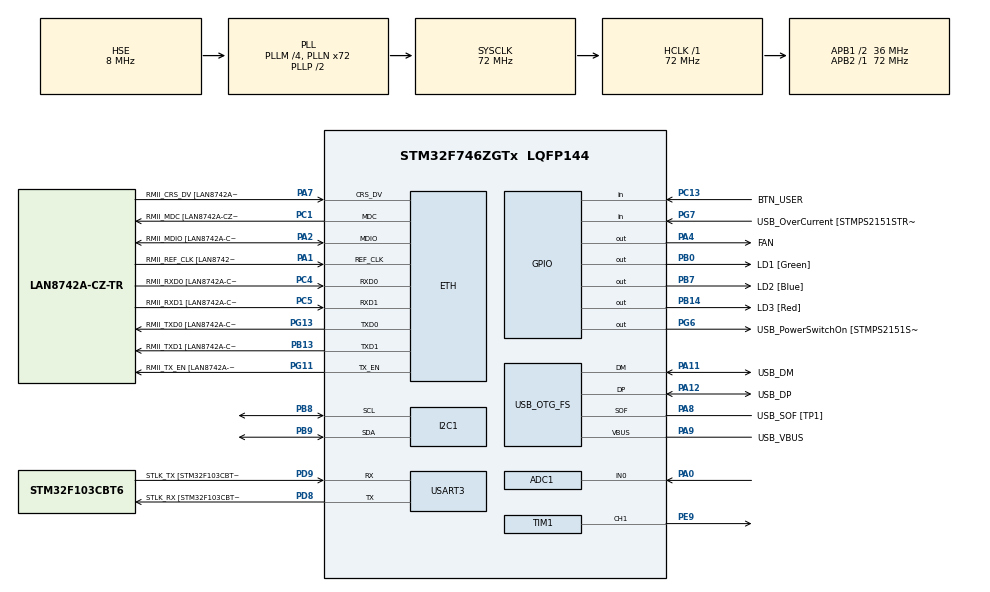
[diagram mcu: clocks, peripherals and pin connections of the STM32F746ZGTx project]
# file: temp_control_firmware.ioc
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ADC1.Channel-1\#ChannelRegularConversion=ADC_CHANNEL_0
ADC1.NbrOfConversion=1
ADC1.NbrOfConversionFlag=1
ADC1.Rank-1\#ChannelRegularConversion=1
ADC1.SamplingTime-1\#ChannelRegularConversion=ADC_SAMPLETIME_144CYCLES
ADC1.ScanConvMode=ADC_SCAN_DISABLE
ADC1.master=1
ETH.MediaInterface=HAL_ETH_RMII_MODE
ETH.PHY_Name=LAN8742A_PHY_ADDRESS
ETH.PHY_Value=0
ETH.PhyAddress=0
I2C1.Timing=0x00808CD2
Mcu.Family=STM32F7
Mcu.Name=STM32F746ZGTx
Mcu.Package=LQFP144
NVIC.PriorityGroup=NVIC_PRIORITYGROUP_4
PA0/WKUP.Signal=ADCx_IN0
PA1.GPIO_Label=RMII_REF_CLK [LAN8742A-CZ-TR_REFCLK0]
PA1.Mode=RMII
PA1.Signal=ETH_REF_CLK
PA10.GPIO_Label=USB_ID
PA10.Signal=USB_OTG_FS_ID
PA11.GPIO_Label=USB_DM
PA11.Mode=Device_Only
PA11.Signal=USB_OTG_FS_DM
PA12.GPIO_Label=USB_DP
PA12.Mode=Device_Only
PA12.Signal=USB_OTG_FS_DP
PA13.GPIO_Label=TMS
PA13.Mode=Serial_Wire
PA13.Signal=SYS_JTMS-SWDIO
PA14.GPIO_Label=TCK
PA14.Mode=Serial_Wire
PA14.Signal=SYS_JTCK-SWCLK
PA2.GPIO_Label=RMII_MDIO [LAN8742A-CZ-TR_MDIO]
PA2.Mode=RMII
PA2.Signal=ETH_MDIO
PA4.GPIO_Label=FAN
PA4.GPIO_PuPd=GPIO_NOPULL
PA4.GPIO_Speed=GPIO_SPEED_FREQ_MEDIUM
PA4.Signal=GPIO_Output
PA7.GPIO_Label=RMII_CRS_DV [LAN8742A-CZ-TR_CRS_DV]
PA7.Mode=RMII
PA7.Signal=ETH_CRS_DV
PA8.GPIO_Label=USB_SOF [TP1]
PA8.Mode=Activate_SOF_FS
PA8.Signal=USB_OTG_FS_SOF
PA9.GPIO_Label=USB_VBUS
PA9.Mode=Activate_VBUS
PA9.Signal=USB_OTG_FS_VBUS
PB0.GPIO_Label=LD1 [Green]
PB0.Signal=GPIO_Output
PB13.GPIO_Label=RMII_TXD1 [LAN8742A-CZ-TR_TXD1]
PB13.Mode=RMII
PB13.Signal=ETH_TXD1
PB14.GPIO_Label=LD3 [Red]
PB14.Signal=GPIO_Output
PB3.GPIO_Label=SW0
PB3.Signal=SYS_JTDO-SWO
PB7.GPIO_Label=LD2 [Blue]
PB7.Signal=GPIO_Output
PB8.Mode=I2C
PB8.Signal=I2C1_SCL
PB9.Mode=I2C
PB9.Signal=I2C1_SDA
PC1.GPIO_Label=RMII_MDC [LAN8742A-CZ-TR_MDC]
PC1.Mode=RMII
PC1.Signal=ETH_MDC
PC13.GPIO_Label=BTN_USER
PC13.GPIO_PuPd=GPIO_PULLUP
PC13.Signal=GPIO_Input
PC14/OSC32_IN.Mode=LSE-External-Oscillator
PC14/OSC32_IN.Signal=RCC_OSC32_IN
PC15/OSC32_OUT.Mode=LSE-External-Oscillator
PC15/OSC32_OUT.Signal=RCC_OSC32_OUT
PC4.GPIO_Label=RMII_RXD0 [LAN8742A-CZ-TR_RXD0]
PC4.Mode=RMII
PC4.Signal=ETH_RXD0
PC5.GPIO_Label=RMII_RXD1 [LAN8742A-CZ-TR_RXD1]
PC5.Mode=RMII
PC5.Signal=ETH_RXD1
PD8.GPIO_Label=STLK_RX [STM32F103CBT6_PA3]
PD8.GPIO_PuPd=GPIO_PULLUP
PD8.Mode=Asynchronous
PD8.Signal=USART3_TX
PD9.GPIO_Label=STLK_TX [STM32F103CBT6_PA2]
PD9.GPIO_PuPd=GPIO_PULLUP
PD9.Mode=Asynchronous
PD9.Signal=USART3_RX
PE9.Signal=S_TIM1_CH1
PG11.GPIO_Label=RMII_TX_EN [LAN8742A-CZ-TR_TXEN]
PG11.Mode=RMII
PG11.Signal=ETH_TX_EN
PG13.GPIO_Label=RMII_TXD0 [LAN8742A-CZ-TR_TXD0]
PG13.Mode=RMII
PG13.Signal=ETH_TXD0
PG6.GPIO_Label=USB_PowerSwitchOn [STMPS2151STR_EN]
PG6.Signal=GPIO_Output
PG7.GPIO_Label=USB_OverCurrent [STMPS2151STR_FAULT]
PG7.Signal=GPIO_Input
PH0/OSC_IN.GPIO_Label=MCO [STM32F103CBT6_PA8]
PH0/OSC_IN.Mode=HSE-External-Clock-Source
PH0/OSC_IN.Signal=RCC_OSC_IN
PH1/OSC_OUT.Mode=HSE-External-Clock-Source
PH1/OSC_OUT.Signal=RCC_OSC_OUT
ProjectManager.HeapSize=0x200
ProjectManager.StackSize=0x400
ProjectManager.TargetToolchain=STM32CubeIDE
RCC.48MHZClocksFreq_Value=24000000
RCC.AHBFreq_Value=72000000
RCC.APB1CLKDivider=RCC_HCLK_DIV2
RCC.APB1Freq_Value=36000000
RCC.APB1TimFreq_Value=72000000
RCC.APB2Freq_Value=72000000
RCC.APB2TimFreq_Value=72000000
RCC.CortexFreq_Value=72000000
RCC.HCLKFreq_Value=72000000
RCC.HSE_VALUE=8000000
RCC.HSI_VALUE=16000000
RCC.PLLM=4
RCC.PLLMUL=RCC_PLL_MUL9
RCC.PLLN=72
RCC.PLLQ=3
RCC.PRESCALERUSB=RCC_USBCLKSOURCE_PLL_DIV1_5
RCC.SYSCLKFreq_VALUE=72000000
RCC.SYSCLKSource=RCC_SYSCLKSOURCE_PLLCLK
RCC.SYSCLKSourceVirtual=RCC_SYSCLKSOURCE_PLLCLK
RCC.USBFreq_Value=48000000
RCC.VCOOutputFreq_Value=144000000
SH.ADCx_IN0.0=ADC1_IN0,IN0
SH.S_TIM1_CH1.0=TIM1_CH1,PWM Generation1 CH1
TIM1.AutoReloadPreload=TIM_AUTORELOAD_PRELOAD_ENABLE
TIM1.Channel-PWM\ Generation1\ CH1=TIM_CHANNEL_1
TIM1.Period=3599
TIM7.Period=20000 - 1
TIM7.Prescaler=720 - 1
USART3.VirtualMode-Asynchronous=VM_ASYNC
USB_OTG_FS.VirtualMode=Device_Only
VP_CRC_VS_CRC.Mode=CRC_Activate
VP_TIM1_VS_ClockSourceINT.Mode=Internal
VP_TIM7_VS_ClockSourceINT.Mode=Enable_Timer
board=NUCLEO-F746ZG

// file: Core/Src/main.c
/* USER CODE BEGIN Header */
/**
  ******************************************************************************
  * @file           : main.c
  * @brief          : Main application entry point and system integration.
  *
  * This file initializes the hardware and integrates all application modules,
  * including temperature measurement, control algorithm, heater control and
  * serial communication.
  ******************************************************************************
  * @attention
  *
  * Copyright (c) 2025 STMicroelectronics.
  * All rights reserved.
  *
  * This software is licensed under terms that can be found in the LICENSE file
  * in the root directory of this software component.
  * If no LICENSE file comes with this software, it is provided AS-IS.
  *
  ******************************************************************************
  */
/* USER CODE END Header */
#include "main.h"
#include "string.h"

/* USER CODE BEGIN Includes */
#include "temperature.h"
#include "control.h"
#include "heater.h"
#include "uart_if.h"
#include "config.h"
#include "ui_led.h"
#include "setpoint.h"
#include "fan.h"
#include "button.h"
/* USER CODE END Includes */

#if defined ( __ICCARM__ ) /*!< IAR Compiler */
#pragma location=0x2004c000
ETH_DMADescTypeDef  DMARxDscrTab[ETH_RX_DESC_CNT]; /* Ethernet Rx DMA Descriptors */
#pragma location=0x2004c0a0
ETH_DMADescTypeDef  DMATxDscrTab[ETH_TX_DESC_CNT]; /* Ethernet Tx DMA Descriptors */

#elif defined ( __CC_ARM )  /* MDK ARM Compiler */

__attribute__((at(0x2004c000))) ETH_DMADescTypeDef  DMARxDscrTab[ETH_RX_DESC_CNT]; /* Ethernet Rx DMA Descriptors */
__attribute__((at(0x2004c0a0))) ETH_DMADescTypeDef  DMATxDscrTab[ETH_TX_DESC_CNT]; /* Ethernet Tx DMA Descriptors */

#elif defined ( __GNUC__ ) /* GNU Compiler */

ETH_DMADescTypeDef DMARxDscrTab[ETH_RX_DESC_CNT] __attribute__((section(".RxDecripSection"))); /* Ethernet Rx DMA Descriptors */
ETH_DMADescTypeDef DMATxDscrTab[ETH_TX_DESC_CNT] __attribute__((section(".TxDecripSection")));   /* Ethernet Tx DMA Descriptors */
#endif

ETH_TxPacketConfig TxConfig;

ADC_HandleTypeDef hadc1;

CRC_HandleTypeDef hcrc;

ETH_HandleTypeDef heth;

I2C_HandleTypeDef hi2c1;

TIM_HandleTypeDef htim1;
TIM_HandleTypeDef htim7;

UART_HandleTypeDef huart3;

PCD_HandleTypeDef hpcd_USB_OTG_FS;

void SystemClock_Config(void);
static void MX_GPIO_Init(void);
static void MX_ETH_Init(void);
static void MX_I2C1_Init(void);
static void MX_USART3_UART_Init(void);
static void MX_USB_OTG_FS_PCD_Init(void);
static void MX_ADC1_Init(void);
static void MX_TIM1_Init(void);
static void MX_CRC_Init(void);
static void MX_TIM7_Init(void);

int main(void)
{

  /* MCU Configuration--------------------------------------------------------*/

  /* Reset of all peripherals, Initializes the Flash interface and the Systick. */
  HAL_Init();

  /* Configure the system clock */
  SystemClock_Config();

  /* Initialize all configured peripherals */
  MX_GPIO_Init();
  MX_ETH_Init();
  MX_I2C1_Init();
  MX_USART3_UART_Init();
  MX_USB_OTG_FS_PCD_Init();
  MX_ADC1_Init();
  MX_TIM1_Init();
  MX_CRC_Init();
  MX_TIM7_Init();
  /* USER CODE BEGIN 2 */
  Control_Init();
  UARTIF_Init();
  UI_LED_Init();
  Heater_Init();
  Button_Init();

  /* USER CODE END 2 */

  /* Infinite loop */
  /* USER CODE BEGIN WHILE */
  uint32_t next_tick = HAL_GetTick();
  const uint32_t Ts_ms = (uint32_t)(CONTROL_TS_S * 1000.0f + 0.5f);
  uint32_t next_tel_ms = HAL_GetTick() + TELEMETRY_PERIOD_MS;

  while (1)
  {
      // ---------- UART ----------
      UARTIF_Task();

      // ---------- ADC (NTC) ----------
      uint16_t ntc_raw = 0;
      HAL_ADC_Start(&hadc1);
      if (HAL_ADC_PollForConversion(&hadc1, 10) == HAL_OK) {
          ntc_raw = (uint16_t)HAL_ADC_GetValue(&hadc1);
      }
      HAL_ADC_Stop(&hadc1);

      // ---------- Temperature ----------
      // float t_meas = Temperature_FromRaw(ntc_raw);
      float t_meas = Temperature_FromRawFiltered(ntc_raw);
      float t_ref  = Setpoint_GetC();

      // ---------- Range flags ----------
      bool in_range = (t_meas >= T_SAFE_MIN_C  && t_meas <= T_SAFE_MAX_C);
      bool alarm    = (t_meas <  T_ALARM_MIN_C || t_meas >  T_ALARM_MAX_C);

      // ---------- Button (setpoint adjust) ----------
      Button_Task_100ms();

      button_event_t ev = Button_ConsumeEvent();
      if (ev != BTN_EVT_NONE) {
          float sp = Setpoint_GetC();

          if (ev == BTN_EVT_SHORT) sp += 0.5f;
          else if (ev == BTN_EVT_LONG) sp -= 0.5f;

          Setpoint_SetC(sp);

          t_ref = Setpoint_GetC();
      }
      HAL_Delay(200);

      // ---------- Control + Safety ----------
      static bool prev_alarm = false;
      float pwm = 0.0f;

      if (alarm) {
          if (!prev_alarm) {
              Control_Init();
          }

          pwm = 0.0f;
          Heater_SetDutyPercent(0.0f);
          Fan_Set(true);
      } else {
          pwm = Control_Update(t_ref, t_meas);
          Heater_SetDutyPercent(pwm);

          // ---------- Fan control (hysteresis) ----------
          static bool fan_on = false;
          if (!fan_on && (t_meas > t_ref + 2.0f)) fan_on = true;
          if ( fan_on && (t_meas < t_ref + 1.0f)) fan_on = false;
          Fan_Set(fan_on);
      }

      prev_alarm = alarm;

      // ---------- Telemetry (periodic) ----------
      bool send_tel = UARTIF_ConsumeTelemetryRequest();

      uint32_t now_tel = HAL_GetTick();
      if ((int32_t)(now_tel - next_tel_ms) >= 0) {
          send_tel = true;
          next_tel_ms += TELEMETRY_PERIOD_MS;
      }

      if (send_tel) {
          UARTIF_SendTelemetry(t_meas, t_ref, pwm);
      }

      // ---------- LED indication ----------
      UI_LED_Task_100ms(in_range, alarm);

      // ---------- Sampling period (fixed Ts) ----------
      next_tick += Ts_ms;
      uint32_t now = HAL_GetTick();

      if ((int32_t)(next_tick - now) > 0) {
          HAL_Delay(next_tick - now);
      } else {
          next_tick = now;
      }
  }

    /* USER CODE END WHILE */

  }
}

void SystemClock_Config(void)
{
  RCC_OscInitTypeDef RCC_OscInitStruct = {0};
  RCC_ClkInitTypeDef RCC_ClkInitStruct = {0};

  /** Configure LSE Drive Capability
  */
  HAL_PWR_EnableBkUpAccess();

  /** Configure the main internal regulator output voltage
  */
  __HAL_RCC_PWR_CLK_ENABLE();
  __HAL_PWR_VOLTAGESCALING_CONFIG(PWR_REGULATOR_VOLTAGE_SCALE3);

  /** Initializes the RCC Oscillators according to the specified parameters
  * in the RCC_OscInitTypeDef structure.
  */
  RCC_OscInitStruct.OscillatorType = RCC_OSCILLATORTYPE_HSE;
  RCC_OscInitStruct.HSEState = RCC_HSE_BYPASS;
  RCC_OscInitStruct.PLL.PLLState = RCC_PLL_ON;
  RCC_OscInitStruct.PLL.PLLSource = RCC_PLLSOURCE_HSE;
  RCC_OscInitStruct.PLL.PLLM = 4;
  RCC_OscInitStruct.PLL.PLLN = 72;
  RCC_OscInitStruct.PLL.PLLP = RCC_PLLP_DIV2;
  RCC_OscInitStruct.PLL.PLLQ = 3;
  if (HAL_RCC_OscConfig(&RCC_OscInitStruct) != HAL_OK)
  {
    Error_Handler();
  }

  /** Initializes the CPU, AHB and APB buses clocks
  */
  RCC_ClkInitStruct.ClockType = RCC_CLOCKTYPE_HCLK|RCC_CLOCKTYPE_SYSCLK
                              |RCC_CLOCKTYPE_PCLK1|RCC_CLOCKTYPE_PCLK2;
  RCC_ClkInitStruct.SYSCLKSource = RCC_SYSCLKSOURCE_PLLCLK;
  RCC_ClkInitStruct.AHBCLKDivider = RCC_SYSCLK_DIV1;
  RCC_ClkInitStruct.APB1CLKDivider = RCC_HCLK_DIV2;
  RCC_ClkInitStruct.APB2CLKDivider = RCC_HCLK_DIV1;

  if (HAL_RCC_ClockConfig(&RCC_ClkInitStruct, FLASH_LATENCY_2) != HAL_OK)
  {
    Error_Handler();
  }
}

static void MX_ADC1_Init(void)
{

  ADC_ChannelConfTypeDef sConfig = {0};

  /** Configure the global features of the ADC (Clock, Resolution, Data Alignment and number of conversion)
  */
  hadc1.Instance = ADC1;
  hadc1.Init.ClockPrescaler = ADC_CLOCK_SYNC_PCLK_DIV2;
  hadc1.Init.Resolution = ADC_RESOLUTION_12B;
  hadc1.Init.ScanConvMode = ADC_SCAN_DISABLE;
  hadc1.Init.ContinuousConvMode = DISABLE;
  hadc1.Init.DiscontinuousConvMode = DISABLE;
  hadc1.Init.ExternalTrigConvEdge = ADC_EXTERNALTRIGCONVEDGE_NONE;
  hadc1.Init.ExternalTrigConv = ADC_SOFTWARE_START;
  hadc1.Init.DataAlign = ADC_DATAALIGN_RIGHT;
  hadc1.Init.NbrOfConversion = 1;
  hadc1.Init.DMAContinuousRequests = DISABLE;
  hadc1.Init.EOCSelection = ADC_EOC_SINGLE_CONV;
  if (HAL_ADC_Init(&hadc1) != HAL_OK)
  {
    Error_Handler();
  }

  /** Configure for the selected ADC regular channel its corresponding rank in the sequencer and its sample time.
  */
  sConfig.Channel = ADC_CHANNEL_0;
  sConfig.Rank = ADC_REGULAR_RANK_1;
  sConfig.SamplingTime = ADC_SAMPLETIME_144CYCLES;
  if (HAL_ADC_ConfigChannel(&hadc1, &sConfig) != HAL_OK)
  {
    Error_Handler();
  }

}

static void MX_CRC_Init(void)
{

  hcrc.Instance = CRC;
  hcrc.Init.DefaultPolynomialUse = DEFAULT_POLYNOMIAL_ENABLE;
  hcrc.Init.DefaultInitValueUse = DEFAULT_INIT_VALUE_ENABLE;
  hcrc.Init.InputDataInversionMode = CRC_INPUTDATA_INVERSION_NONE;
  hcrc.Init.OutputDataInversionMode = CRC_OUTPUTDATA_INVERSION_DISABLE;
  hcrc.InputDataFormat = CRC_INPUTDATA_FORMAT_BYTES;
  if (HAL_CRC_Init(&hcrc) != HAL_OK)
  {
    Error_Handler();
  }

}

static void MX_ETH_Init(void)
{

   static uint8_t MACAddr[6];

  heth.Instance = ETH;
  MACAddr[0] = 0x00;
  MACAddr[1] = 0x80;
  MACAddr[2] = 0xE1;
  MACAddr[3] = 0x00;
  MACAddr[4] = 0x00;
  MACAddr[5] = 0x00;
  heth.Init.MACAddr = &MACAddr[0];
  heth.Init.MediaInterface = HAL_ETH_RMII_MODE;
  heth.Init.TxDesc = DMATxDscrTab;
  heth.Init.RxDesc = DMARxDscrTab;
  heth.Init.RxBuffLen = 1524;

  if (HAL_ETH_Init(&heth) != HAL_OK)
  {
    Error_Handler();
  }

  memset(&TxConfig, 0 , sizeof(ETH_TxPacketConfig));
  TxConfig.Attributes = ETH_TX_PACKETS_FEATURES_CSUM | ETH_TX_PACKETS_FEATURES_CRCPAD;
  TxConfig.ChecksumCtrl = ETH_CHECKSUM_IPHDR_PAYLOAD_INSERT_PHDR_CALC;
  TxConfig.CRCPadCtrl = ETH_CRC_PAD_INSERT;

}

static void MX_I2C1_Init(void)
{

  hi2c1.Instance = I2C1;
  hi2c1.Init.Timing = 0x00808CD2;
  hi2c1.Init.OwnAddress1 = 0;
  hi2c1.Init.AddressingMode = I2C_ADDRESSINGMODE_7BIT;
  hi2c1.Init.DualAddressMode = I2C_DUALADDRESS_DISABLE;
  hi2c1.Init.OwnAddress2 = 0;
  hi2c1.Init.OwnAddress2Masks = I2C_OA2_NOMASK;
  hi2c1.Init.GeneralCallMode = I2C_GENERALCALL_DISABLE;
  hi2c1.Init.NoStretchMode = I2C_NOSTRETCH_DISABLE;
  if (HAL_I2C_Init(&hi2c1) != HAL_OK)
  {
    Error_Handler();
  }

  /** Configure Analogue filter
  */
  if (HAL_I2CEx_ConfigAnalogFilter(&hi2c1, I2C_ANALOGFILTER_ENABLE) != HAL_OK)
  {
    Error_Handler();
  }

  /** Configure Digital filter
  */
  if (HAL_I2CEx_ConfigDigitalFilter(&hi2c1, 0) != HAL_OK)
  {
    Error_Handler();
  }

}

static void MX_TIM1_Init(void)
{

  TIM_ClockConfigTypeDef sClockSourceConfig = {0};
  TIM_MasterConfigTypeDef sMasterConfig = {0};
  TIM_OC_InitTypeDef sConfigOC = {0};
  TIM_BreakDeadTimeConfigTypeDef sBreakDeadTimeConfig = {0};

  htim1.Instance = TIM1;
  htim1.Init.Prescaler = 0;
  htim1.Init.CounterMode = TIM_COUNTERMODE_UP;
  htim1.Init.Period = 3599;
  htim1.Init.ClockDivision = TIM_CLOCKDIVISION_DIV1;
  htim1.Init.RepetitionCounter = 0;
  htim1.Init.AutoReloadPreload = TIM_AUTORELOAD_PRELOAD_ENABLE;
  if (HAL_TIM_Base_Init(&htim1) != HAL_OK)
  {
    Error_Handler();
  }
  sClockSourceConfig.ClockSource = TIM_CLOCKSOURCE_INTERNAL;
  if (HAL_TIM_ConfigClockSource(&htim1, &sClockSourceConfig) != HAL_OK)
  {
    Error_Handler();
  }
  if (HAL_TIM_PWM_Init(&htim1) != HAL_OK)
  {
    Error_Handler();
  }
  sMasterConfig.MasterOutputTrigger = TIM_TRGO_RESET;
  sMasterConfig.MasterOutputTrigger2 = TIM_TRGO2_RESET;
  sMasterConfig.MasterSlaveMode = TIM_MASTERSLAVEMODE_DISABLE;
  if (HAL_TIMEx_MasterConfigSynchronization(&htim1, &sMasterConfig) != HAL_OK)
  {
    Error_Handler();
  }
  sConfigOC.OCMode = TIM_OCMODE_PWM1;
  sConfigOC.Pulse = 0;
  sConfigOC.OCPolarity = TIM_OCPOLARITY_HIGH;
  sConfigOC.OCNPolarity = TIM_OCNPOLARITY_HIGH;
  sConfigOC.OCFastMode = TIM_OCFAST_DISABLE;
  sConfigOC.OCIdleState = TIM_OCIDLESTATE_RESET;
  sConfigOC.OCNIdleState = TIM_OCNIDLESTATE_RESET;
  if (HAL_TIM_PWM_ConfigChannel(&htim1, &sConfigOC, TIM_CHANNEL_1) != HAL_OK)
  {
    Error_Handler();
  }
  sBreakDeadTimeConfig.OffStateRunMode = TIM_OSSR_DISABLE;
  sBreakDeadTimeConfig.OffStateIDLEMode = TIM_OSSI_DISABLE;
  sBreakDeadTimeConfig.LockLevel = TIM_LOCKLEVEL_OFF;
  sBreakDeadTimeConfig.DeadTime = 0;
  sBreakDeadTimeConfig.BreakState = TIM_BREAK_DISABLE;
  sBreakDeadTimeConfig.BreakPolarity = TIM_BREAKPOLARITY_HIGH;
  sBreakDeadTimeConfig.BreakFilter = 0;
  sBreakDeadTimeConfig.Break2State = TIM_BREAK2_DISABLE;
  sBreakDeadTimeConfig.Break2Polarity = TIM_BREAK2POLARITY_HIGH;
  sBreakDeadTimeConfig.Break2Filter = 0;
  sBreakDeadTimeConfig.AutomaticOutput = TIM_AUTOMATICOUTPUT_DISABLE;
  if (HAL_TIMEx_ConfigBreakDeadTime(&htim1, &sBreakDeadTimeConfig) != HAL_OK)
  {
    Error_Handler();
  }
  HAL_TIM_MspPostInit(&htim1);

}

static void MX_TIM7_Init(void)
{

  TIM_MasterConfigTypeDef sMasterConfig = {0};

  htim7.Instance = TIM7;
  htim7.Init.Prescaler = 720 - 1;
  htim7.Init.CounterMode = TIM_COUNTERMODE_UP;
  htim7.Init.Period = 20000 - 1;
  htim7.Init.AutoReloadPreload = TIM_AUTORELOAD_PRELOAD_DISABLE;
  if (HAL_TIM_Base_Init(&htim7) != HAL_OK)
  {
    Error_Handler();
  }
  sMasterConfig.MasterOutputTrigger = TIM_TRGO_RESET;
  sMasterConfig.MasterSlaveMode = TIM_MASTERSLAVEMODE_DISABLE;
  if (HAL_TIMEx_MasterConfigSynchronization(&htim7, &sMasterConfig) != HAL_OK)
  {
    Error_Handler();
  }

}

static void MX_USART3_UART_Init(void)
{

  huart3.Instance = USART3;
  huart3.Init.BaudRate = 115200;
  huart3.Init.WordLength = UART_WORDLENGTH_8B;
  huart3.Init.StopBits = UART_STOPBITS_1;
  huart3.Init.Parity = UART_PARITY_NONE;
  huart3.Init.Mode = UART_MODE_TX_RX;
  huart3.Init.HwFlowCtl = UART_HWCONTROL_NONE;
  huart3.Init.OverSampling = UART_OVERSAMPLING_16;
  huart3.Init.OneBitSampling = UART_ONE_BIT_SAMPLE_DISABLE;
  huart3.AdvancedInit.AdvFeatureInit = UART_ADVFEATURE_NO_INIT;
  if (HAL_UART_Init(&huart3) != HAL_OK)
  {
    Error_Handler();
  }

}

static void MX_USB_OTG_FS_PCD_Init(void)
{

  hpcd_USB_OTG_FS.Instance = USB_OTG_FS;
  hpcd_USB_OTG_FS.Init.dev_endpoints = 6;
  hpcd_USB_OTG_FS.Init.speed = PCD_SPEED_FULL;
  hpcd_USB_OTG_FS.Init.dma_enable = DISABLE;
  hpcd_USB_OTG_FS.Init.phy_itface = PCD_PHY_EMBEDDED;
  hpcd_USB_OTG_FS.Init.Sof_enable = ENABLE;
  hpcd_USB_OTG_FS.Init.low_power_enable = DISABLE;
  hpcd_USB_OTG_FS.Init.lpm_enable = DISABLE;
  hpcd_USB_OTG_FS.Init.vbus_sensing_enable = ENABLE;
  hpcd_USB_OTG_FS.Init.use_dedicated_ep1 = DISABLE;
  if (HAL_PCD_Init(&hpcd_USB_OTG_FS) != HAL_OK)
  {
    Error_Handler();
  }

}

static void MX_GPIO_Init(void)
{
  GPIO_InitTypeDef GPIO_InitStruct = {0};

  /* GPIO Ports Clock Enable */
  __HAL_RCC_GPIOC_CLK_ENABLE();
  __HAL_RCC_GPIOH_CLK_ENABLE();
  __HAL_RCC_GPIOA_CLK_ENABLE();
  __HAL_RCC_GPIOB_CLK_ENABLE();
  __HAL_RCC_GPIOE_CLK_ENABLE();
  __HAL_RCC_GPIOD_CLK_ENABLE();
  __HAL_RCC_GPIOG_CLK_ENABLE();

  /*Configure GPIO pin Output Level */
  HAL_GPIO_WritePin(FAN_GPIO_Port, FAN_Pin, GPIO_PIN_RESET);

  /*Configure GPIO pin Output Level */
  HAL_GPIO_WritePin(GPIOB, LD1_Pin|LD3_Pin|LD2_Pin, GPIO_PIN_RESET);

  /*Configure GPIO pin Output Level */
  HAL_GPIO_WritePin(USB_PowerSwitchOn_GPIO_Port, USB_PowerSwitchOn_Pin, GPIO_PIN_RESET);

  /*Configure GPIO pin : BTN_USER_Pin */
  GPIO_InitStruct.Pin = BTN_USER_Pin;
  GPIO_InitStruct.Mode = GPIO_MODE_INPUT;
  GPIO_InitStruct.Pull = GPIO_PULLUP;
  HAL_GPIO_Init(BTN_USER_GPIO_Port, &GPIO_InitStruct);

  /*Configure GPIO pin : FAN_Pin */
  GPIO_InitStruct.Pin = FAN_Pin;
  GPIO_InitStruct.Mode = GPIO_MODE_OUTPUT_PP;
  GPIO_InitStruct.Pull = GPIO_NOPULL;
  GPIO_InitStruct.Speed = GPIO_SPEED_FREQ_MEDIUM;
  HAL_GPIO_Init(FAN_GPIO_Port, &GPIO_InitStruct);

  /*Configure GPIO pins : LD1_Pin LD3_Pin LD2_Pin */
  GPIO_InitStruct.Pin = LD1_Pin|LD3_Pin|LD2_Pin;
  GPIO_InitStruct.Mode = GPIO_MODE_OUTPUT_PP;
  GPIO_InitStruct.Pull = GPIO_NOPULL;
  GPIO_InitStruct.Speed = GPIO_SPEED_FREQ_LOW;
  HAL_GPIO_Init(GPIOB, &GPIO_InitStruct);

  /*Configure GPIO pin : USB_PowerSwitchOn_Pin */
  GPIO_InitStruct.Pin = USB_PowerSwitchOn_Pin;
  GPIO_InitStruct.Mode = GPIO_MODE_OUTPUT_PP;
  GPIO_InitStruct.Pull = GPIO_NOPULL;
  GPIO_InitStruct.Speed = GPIO_SPEED_FREQ_LOW;
  HAL_GPIO_Init(USB_PowerSwitchOn_GPIO_Port, &GPIO_InitStruct);

  /*Configure GPIO pin : USB_OverCurrent_Pin */
  GPIO_InitStruct.Pin = USB_OverCurrent_Pin;
  GPIO_InitStruct.Mode = GPIO_MODE_INPUT;
  GPIO_InitStruct.Pull = GPIO_NOPULL;
  HAL_GPIO_Init(USB_OverCurrent_GPIO_Port, &GPIO_InitStruct);

}

void Error_Handler(void)
{
  __disable_irq();
  while (1)
  {
  }
}
